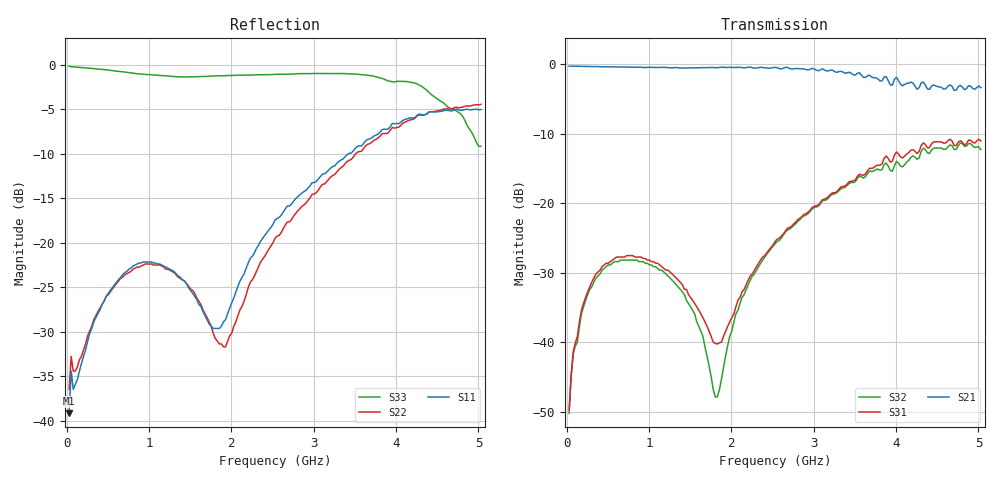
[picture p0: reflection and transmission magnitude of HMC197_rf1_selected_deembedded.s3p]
!Hittite Microwave Corporation
!12 Elizabeth Drive
!Chelmsford, MA 01824
!Tel: 978-250-3343
!Fax: 978-250-3373
!Device: HMC197, DC - 3 GHz SOT26 SPDT Switch
!Misc: Port 1 = RFC, Port 2 = RF1, Port 3 = RF2,  RF1 Selected, Bias: +5VDC
# MHZ S MA R 50
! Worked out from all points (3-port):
!   201 points, 30 MHz to 5.03 GHz, reference 50 ohm
!   strongest paths, dB at 30 MHz, 1.28 GHz, 2.53 GHz, 3.78 GHz, 5.03 GHz:
!     S21: -0.3, -0.5, -0.4, -2.1, -3.4
!     S31: -49.8, -30.2, -25.5, -14.5, -11.0
!     S32: -50.2, -31.1, -25.8, -15.1, -12.3
!   lowest |S11| = -39.2 dB at 30 MHz (marker M1), VSWR 1.02, Z = 51 - j0.412 ohm
!   |S11| at or under -10 dB: start of sweep to 3.421 GHz
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30  0.011 -21.5  0.968 0.1  0.003015 61.7
    0.969 0.0  0.015 -14.9  0.002877 61.3
    0.00325 66.1  0.003078 65.4  0.984 -6.8
180  0.021 -57.0  0.968 -1.1  0.017 79.7
     0.968 -1.1  0.023 -49.4  0.016 77.3
     0.017 79.3  0.016 76.8  0.967 -37.7
455  0.047 -74.6  0.96 -2.0  0.036 55.3
     0.96 -2.1  0.047 -72.9  0.034 52.8
     0.036 54.8  0.034 52.2  0.941 -87.0
1080  0.077 -92.9  0.95 -3.8  0.037 29.6
      0.949 -3.8  0.075 -96.7  0.035 22.0
      0.037 29.2  0.035 21.5  0.877 -162.1
1555  0.05 -117.3  0.944 -4.7  0.019 32.3
      0.944 -4.7  0.052 -117.0  0.016 14.1
      0.019 33.0  0.016 14.9  0.858 155.7
1805  0.033 -166.8  0.951 -6.1  0.009044 77.3
      0.946 -5.9  0.029 -154.6  0.003707 70.4
      0.009808 77.0  0.00403 70.8  0.868 135.4
2180  0.072 126.1  0.947 -7.6  0.028 149.2
      0.947 -7.6  0.051 117.4  0.026 157.9
      0.026 148.7  0.024 157.2  0.876 108.8
2530  0.134 117.3  0.951 -10.3  0.053 149.9
      0.952 -10.4  0.106 105.0  0.051 150.5
      0.053 155.7  0.051 156.3  0.885 89.9
4255  0.521 129.7  0.658 -23.0  0.253 144.3
      0.661 -23.3  0.517 114.7  0.229 136.7
      0.228 136.5  0.207 128.0  0.783 35.2
5030  0.561 115.0  0.657 -23.2  0.277 123.2
      0.679 -24.4  0.6 107.0  0.24 103.5
      0.281 121.0  0.243 101.9  0.349 31.5
